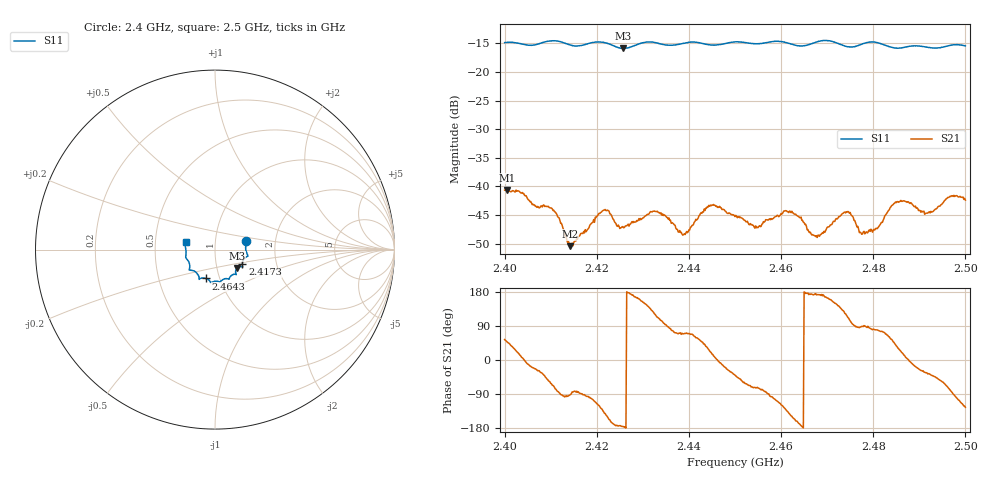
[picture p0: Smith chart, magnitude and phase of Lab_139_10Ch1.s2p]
# Hz S RI R 50
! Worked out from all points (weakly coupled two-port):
!   601 points, 2.4 GHz to 2.5 GHz, reference 50 ohm
!   highest |S21| = -40.62 dB at 2.4005 GHz (marker M1); lowest = -50.5 dB at 2.4142 GHz (marker M2)
!   lowest |S11| = -15.9 dB at 2.4257 GHz (marker M3), VSWR 1.38, Z = 62.5 - j13.1 ohm
!   |S11| at or under -10 dB: start of sweep to end of sweep
!   S12 and S22 are empty: the file has one direction only
!   S11 on the Smith chart (normalised r, x): 2.4 GHz: 1.41, +0.14; 2.4173 GHz: 1.34, -0.23; 2.4643 GHz: 0.86, -0.28; 2.5 GHz: 0.72, +0.06
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2.4e9  0.1735 0.0488  0.00545 0.00749  0 0  0 0
2.4005e9  0.1748 0.0468  0.00619 0.00696  0 0  0 0
2.4105e9  0.1838 -0.0347  0.00239 -0.00567  0 0  0 0
2.414167e9  0.165 -0.0482  -0.0001 -0.003  0 0  0 0
2.416667e9  0.1529 -0.0743  4.5e-05 -0.00389  0 0  0 0
2.417333e9  0.1522 -0.0819  -9.66e-05 -0.00392  0 0  0 0
2.421833e9  0.1522 -0.0955  -0.0049 -0.00393  0 0  0 0
2.425667e9  0.123 -0.1025  -0.00444 -0.000343  0 0  0 0
2.433333e9  0.1126 -0.1373  -0.00217 0.00553  0 0  0 0
2.438833e9  0.0804 -0.1586  0.00136 0.00352  0 0  0 0
2.444833e9  0.057 -0.1619  0.00637 0.00229  0 0  0 0
2.45e9  0.0284 -0.1807  0.00417 -0.00349  0 0  0 0
2.454667e9  0.00473 -0.176  0.00122 -0.00417  0 0  0 0
2.461e9  -0.0265 -0.1787  -0.00399 -0.00466  0 0  0 0
2.464333e9  -0.0501 -0.1608  -0.00536 -0.000627  0 0  0 0
2.466667e9  -0.0762 -0.1592  -0.00374 0.000413  0 0  0 0
2.474167e9  -0.0987 -0.1343  -0.00288 0.00527  0 0  0 0
2.478667e9  -0.1393 -0.115  0.000288 0.00391  0 0  0 0
2.483333e9  -0.1405 -0.0899  0.00294 0.00543  0 0  0 0
2.4865e9  -0.1521 -0.059  0.00718 0.00205  0 0  0 0
2.491667e9  -0.1617 -0.0287  0.00482 -0.00327  0 0  0 0
2.5e9  -0.1635 0.0422  -0.00433 -0.00623  0 0  0 0
